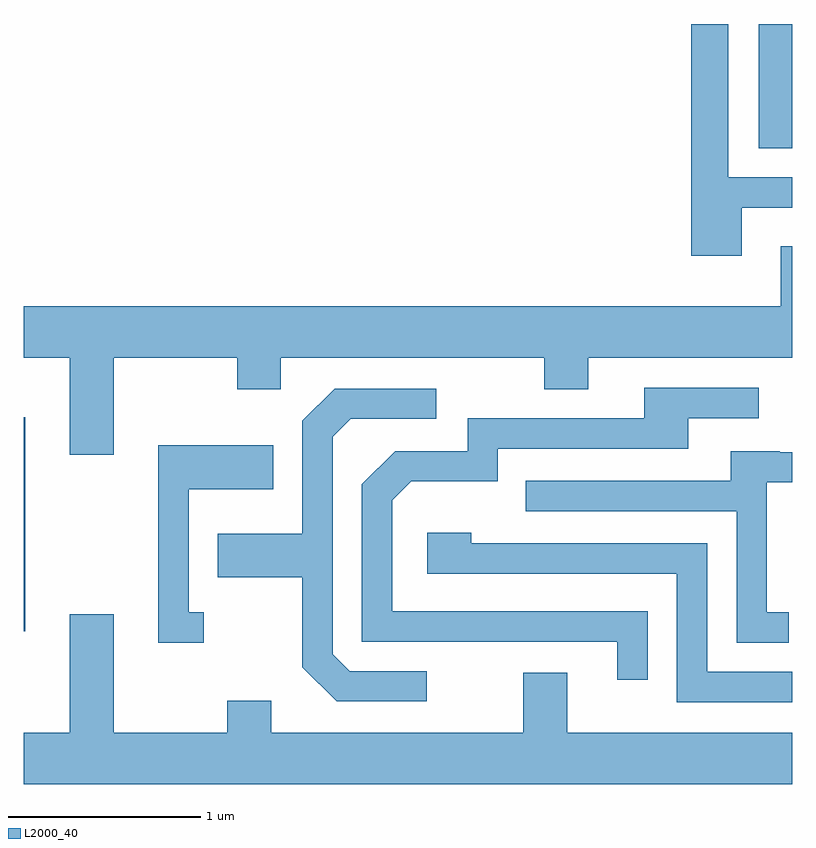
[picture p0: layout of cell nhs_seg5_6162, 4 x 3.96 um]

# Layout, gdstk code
import gdstk
lib = gdstk.Library(unit=1e-6, precision=1e-09)
def R(c, l, rs):  # rectangles x0, y0, x1, y1
    for r in rs: c.add(gdstk.rectangle(r[:2], r[2:], *l))
def P(c, l, *ps):  # polygons
    for p in ps: c.add(gdstk.Polygon(p, *l))
L2000_40 = (2000, 40)

nhs_seg5_6162 = lib.new_cell('nhs_seg5_6162')
R(nhs_seg5_6162, L2000_40, [(367.611,1470.911,367.619,1472.024), (371.436,1473.426,371.611,1474.072)])
P(nhs_seg5_6162, L2000_40, [(371.349,1473.116),(371.611,1473.116),(371.611,1473.274),(371.279,1473.274),(371.279,1474.072),(371.086,1474.072),(371.086,1472.866),(371.349,1472.866)],
  [(368.079,1472.336),(368.721,1472.336),(368.721,1472.171),(368.949,1472.171),(368.949,1472.336),(370.321,1472.336),(370.321,1472.171),(370.549,1472.171),(370.549,1472.336),(371.611,1472.336),(371.611,1472.914),(371.551,1472.914),(371.551,1472.604),(367.611,1472.604),(367.611,1472.336),(367.851,1472.336),(367.851,1471.831),(368.079,1471.831)],
  [(370.859,1471.014),(369.529,1471.014),(369.529,1471.594),(369.627,1471.691),(370.079,1471.691),(370.079,1471.861),(371.069,1471.861),(371.069,1472.021),(371.438,1472.021),(371.438,1472.179),(370.841,1472.179),(370.841,1472.019),(369.921,1472.019),(369.921,1471.849),(369.544,1471.849),(369.371,1471.677),(369.371,1470.856),(370.701,1470.856),(370.701,1470.658),(370.859,1470.658)],
  [(369.708,1470.704),(369.307,1470.704),(369.219,1470.792),(369.219,1471.924),(369.312,1472.016),(369.758,1472.016),(369.758,1472.174),(369.229,1472.174),(369.061,1472.007),(369.061,1471.419),(368.621,1471.419),(368.621,1471.191),(369.061,1471.191),(369.061,1470.724),(369.239,1470.546),(369.708,1470.546)],
  [(368.548,1471.009),(368.469,1471.009),(368.469,1471.651),(368.909,1471.651),(368.909,1471.879),(368.311,1471.879),(368.311,1470.851),(368.548,1470.851)],
  [(371.593,1471.009),(371.479,1471.009),(371.479,1471.686),(371.611,1471.686),(371.611,1471.844),(371.545,1471.844),(371.545,1471.849),(371.291,1471.849),(371.291,1471.694),(370.223,1471.694),(370.223,1471.536),(371.321,1471.536),(371.321,1470.851),(371.593,1470.851)],
  [(371.611,1470.699),(371.169,1470.699),(371.169,1471.369),(369.939,1471.369),(369.939,1471.424),(369.711,1471.424),(369.711,1471.211),(371.011,1471.211),(371.011,1470.541),(371.611,1470.541)],
  [(371.611,1470.384),(370.439,1470.384),(370.439,1470.694),(370.211,1470.694),(370.211,1470.384),(368.899,1470.384),(368.899,1470.549),(368.671,1470.549),(368.671,1470.384),(368.079,1470.384),(368.079,1470.999),(367.851,1470.999),(367.851,1470.384),(367.611,1470.384),(367.611,1470.116),(371.611,1470.116)])

lib.write_gds('nhs_seg5_6162.gds')
